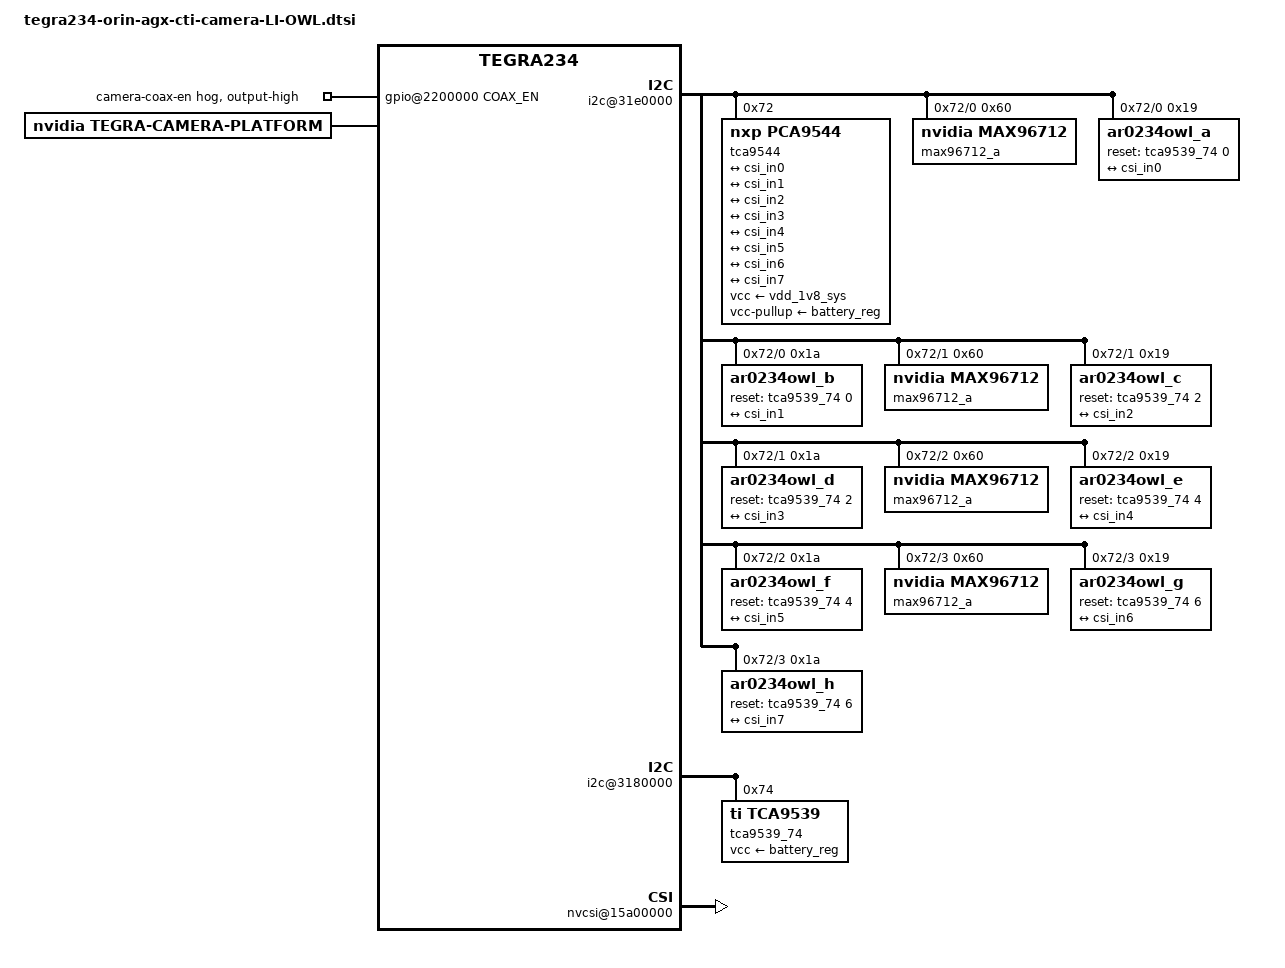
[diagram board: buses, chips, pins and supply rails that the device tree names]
/*
 * Copyright (c) 2022, Connect Tech Inc.  All rights reserved.
 *
 * This program is free software; you can redistribute it and/or modify it
 * under the terms and conditions of the GNU General Public License,
 * version 2, as published by the Free Software Foundation.
 *
 * This program is distributed in the hope it will be useful, but WITHOUT
 * ANY WARRANTY; without even the implied warranty of MERCHANTABILITY or
 * FITNESS FOR A PARTICULAR PURPOSE.  See the GNU General Public License for
 * more details.
 *
 * You should have received a copy of the GNU General Public License
 * along with this program.  If not, see <http://www.gnu.org/licenses/>.
 */

//#include "tegra234-orin-agx-cti-csi.dtsi"
#include "dt-bindings/clock/tegra234-clock.h"

#define COAX_EN TEGRA234_MAIN_GPIO(H,7) //CAM0_PWDN
#define TRIGGER_IO TEGRA234_MAIN_GPIO(R,0) //PWM1


#define CAM_LANES 4
#define CAM_LANES_STRING "4" 
#define TEGRA_SINTERFACE "serial_g"
#define MODE_VC "0"
#define SERDES_PIX_CLK_HZ "590000000" 
#define PIX_CLK_HZ "134400000"
#define TRIG_MODE <0> //manual trigger
#include "tegra234-orin-agx-cti-camera-LI-HAWK-modes.dtsi"

#define SENSOR_COMMON \
                compatible = "onsemi,ar0234owl"; \
                clocks = <&bpmp_clks TEGRA234_CLK_EXTPERIPH1>,<&bpmp_clks TEGRA234_CLK_EXTPERIPH1>; \
                clock-names = "extperiph1", "pllp_grtba"; \
                mclk = "extperiph1"; \
                master-mode = TRIG_MODE; /*hardware trigger by default 0=trigger-mode 1=master-mode */ \
                physical_w = "15.0"; \
                physical_h = "12.5"; \
                sensor_model = "ar0234owl"; \
                post_crop_frame_drop = "0"; \
                use_sensor_mode_id = "true"; \
     
            
/ {

	gpio@2200000 {
        camera-coax-en {
            status = "okay";
            gpio-hog;
            gpios = <COAX_EN 0>;
            output-high;
            label = "camera-coax-en";
        };
	};

	

    i2c@31e0000 {
	status = "okay";
	#address-cells = <1>;
	#size-cells = <0>;
        tca9544@72 {
	    status = "okay";
	    compatible = "nxp,pca9544";
	    reg = <0x72>;
	    #address-cells = <1>;
	    #size-cells = <0>;
	    vcc-supply = <&vdd_1v8_sys>;
	    vcc-pullup-supply = <&battery_reg>;
	    vcc_lp = "vcc";
	    skip_mux_detect = "yes";
	    force_bus_start = <0x1e>;
      i2c@0 {
                status = "okay";
		reg = <0>;
		i2c-mux,deselect-on-exit;
		#address-cells = <1>;
		#size-cells = <0>;

		max96712_a@60 { //just needs to exist for the reg r/w
			compatible = "nvidia,max96712";
			reg = <0x60>;
			channel = "a";
			//status = "okay";
		};
	
		ar0234owl_a@19 {
			status = "okay";
			devnode = "video0";
            devnode-bus = "30";
			reg = <0x19>;
            SENSOR_COMMON
			channel = "a";
			link = "a";
			reset-gpios = <&tca9539_74 0 GPIO_ACTIVE_HIGH>;
			sync_sensor = "OWL1";
			sync_sensor_index = <1>;
			reg_mux = <0>;	
            LI_HAWK_10FPS		
				
			ports {
				#address-cells = <1>;
				#size-cells = <0>;
				port@0 {
					reg = <0>;
					cam_out0: endpoint {
						vc-id = <0>;
						port-index = <6>;
						bus-width = <CAM_LANES>;
						remote-endpoint = <&csi_in0>;
					};
				};
			};	

		};
		ar0234owl_b@1a {
			status = "okay";
			devnode = "video1";
			reg = <0x1a>;
             devnode-bus = "30";
            SENSOR_COMMON
			channel = "a";
			link = "b";
			reset-gpios = <&tca9539_74 0 GPIO_ACTIVE_HIGH>;
			sync_sensor = "OWL2";
			sync_sensor_index = <2>;
			reg_mux = <0>;	
#undef MODE_VC
#define MODE_VC "1"			
            LI_HAWK_10FPS		
				
			ports {
				#address-cells = <1>;
				#size-cells = <0>;
				port@0 {
					reg = <0>;
					cam_out1: endpoint {
						vc-id = <1>;
						port-index = <6>;
						bus-width = <CAM_LANES>;
						remote-endpoint = <&csi_in1>;
					};
				};
			};	

		};

		};
	    i2c@1 {
		status = "okay";
		reg = <1>;
		i2c-mux,deselect-on-exit;
		#address-cells = <1>;
		#size-cells = <0>;
		
		max96712_a@60 {
			compatible = "nvidia,max96712";
			reg = <0x60>;
			channel = "a";
			status = "okay";
		};


		ar0234owl_c@19 {
			status = "okay";
			devnode = "video2";
			reg = <0x19>;
            SENSOR_COMMON
			reg_mux = <0>;
			channel = "a";
			link = "a";
			reset-gpios = <&tca9539_74 2 GPIO_ACTIVE_HIGH>;
			sync_sensor = "OWL1";
			sync_sensor_index = <1>;
#undef TEGRA_SINTERFACE
#define TEGRA_SINTERFACE "serial_e"
#undef MODE_VC
#define MODE_VC "0"	

			LI_HAWK_10FPS
	
			ports {
				#address-cells = <1>;
				#size-cells = <0>;
				port@0 {
					reg = <0>;
					cam_out2: endpoint {
						vc-id = <0>;
						port-index = <4>;
						bus-width = <CAM_LANES>;
						remote-endpoint = <&csi_in2>;
					};
				};
			};	

		};


        ar0234owl_d@1a {
            devnode = "video3";
            reg = <0x1a>;
            status = "okay";
            SENSOR_COMMON
            link = "b";
            channel = "a";
            reset-gpios = <&tca9539_74 2 GPIO_ACTIVE_HIGH>;
            sync_sensor = "OWL2";
            sync_sensor_index = <2>;
#undef MODE_VC
#define MODE_VC "1"
            LI_HAWK_10FPS

            ports {
                #address-cells = <1>;
                #size-cells = <0>;
                port@0 {
                    reg = <0>;
                    cam_out3: endpoint {
                        vc-id = <1>;
                        port-index = <4>;
                        bus-width = <CAM_LANES>;
                        remote-endpoint = <&csi_in3>;
                    };
                };
            };
        };

	    };


            i2c@2 {
                status = "okay";
                reg = <2>;
		i2c-mux,deselect-on-exit;
		#address-cells = <1>;
		#size-cells = <0>;
		
		max96712_a@60 {
			compatible = "nvidia,max96712";
			reg = <0x60>;
			channel = "a";
			status = "okay";
		};

		ar0234owl_e@19 {
			status = "okay";
			devnode = "video4";
            SENSOR_COMMON
			reg = <0x19>;
			reg_mux = <0>;
			channel = "a";
			link = "a";
			reset-gpios = <&tca9539_74 4 GPIO_ACTIVE_HIGH>;
			sync_sensor = "OWL1";
			sync_sensor_index = <1>;

#undef TEGRA_SINTERFACE
#define TEGRA_SINTERFACE "serial_c"
#undef MODE_VC
#define MODE_VC "0"	

			LI_HAWK_10FPS
	
			ports {
				#address-cells = <1>;
				#size-cells = <0>;
				port@0 {
					reg = <0>;
					cam_out4: endpoint {
						vc-id = <0>;
						port-index = <2>;
						bus-width = <CAM_LANES>;
						remote-endpoint = <&csi_in4>;
					};
				};
			};	

		};
		ar0234owl_f@1a {
			status = "okay";
			devnode = "video5";
            SENSOR_COMMON
			reg = <0x1a>;
			channel = "a";
			link = "b";
			reset-gpios = <&tca9539_74 4 GPIO_ACTIVE_HIGH>;
			sync_sensor = "OWL2";
			sync_sensor_index = <2>;

#undef MODE_VC
#define MODE_VC "1"	

			LI_HAWK_10FPS
	
			ports {
				#address-cells = <1>;
				#size-cells = <0>;
				port@0 {
					reg = <0>;
					cam_out5: endpoint {
						vc-id = <1>;
						port-index = <2>;
						bus-width = <CAM_LANES>;
						remote-endpoint = <&csi_in5>;
					};
				};
			};	

		};

      };
                
            i2c@3 {
                status = "okay";
		reg = <3>;
		i2c-mux,deselect-on-exit;
		#address-cells = <1>;
		#size-cells = <0>;
				

		max96712_a@60 {
			compatible = "nvidia,max96712";
			reg = <0x60>;
			channel = "a";
			status = "okay";
		};

		ar0234owl_g@19 {
			status = "okay";
			devnode = "video6";
            SENSOR_COMMON
			reg = <0x19>;
			reg_mux = <0>;
			channel = "a";
			link = "a";
			reset-gpios = <&tca9539_74 6 GPIO_ACTIVE_HIGH>;


			sync_sensor = "OWL1";
			sync_sensor_index = <1>;

#undef TEGRA_SINTERFACE
#define TEGRA_SINTERFACE "serial_a"
#undef MODE_VC
#define MODE_VC "0"	

			LI_HAWK_10FPS
	
			ports {
				#address-cells = <1>;
				#size-cells = <0>;
				port@0 {
					reg = <0>;
					cam_out6: endpoint {
						vc-id = <0>;
						port-index = <0>;
						bus-width = <CAM_LANES>;
						remote-endpoint = <&csi_in6>;
					};
				};
			};	

		};
		ar0234owl_h@1a {
			status = "okay";
			devnode = "video7";
			reg = <0x1a>;
            SENSOR_COMMON
			channel = "a";
			link = "b";
			reset-gpios = <&tca9539_74 6 GPIO_ACTIVE_HIGH>;

			sync_sensor = "OWL2";
			sync_sensor_index = <2>;

#undef TEGRA_SINTERFACE
#define TEGRA_SINTERFACE "serial_a"
#undef MODE_VC
#define MODE_VC "1"	

			LI_HAWK_10FPS
	
			ports {
				#address-cells = <1>;
				#size-cells = <0>;
				port@0 {
					reg = <0>;
					cam_out7: endpoint {
						vc-id = <1>;
						port-index = <0>;
						bus-width = <CAM_LANES>;
						remote-endpoint = <&csi_in7>;
					};
				};
			};	

		};
        };
    };
};
    i2c@3180000 {
		status = "okay";
		#address-cells = <1>;
		#size-cells = <0>;
		tca9539_74: tca9539@74 {
			compatible = "ti,tca9539";
			gpio-controller;
			#gpio-cells = <2>;
			ngpios = <16>;
			reg = <0x74>;
			vcc-supply = <&battery_reg>;
			status = "okay";
			
			tca9539_74_reset {
				status = "okay";
				gpio-hog;
				gpios = <0 0 2 0 4 0 6 0>;
				output-high;
				label = "RST_A","RST_B","RST_C","RST_D";
			};
			tca9539_74_pwdn {
				status = "okay";
                gpio-hog;
                gpios = <1 0 3 0 5 0 7 0>;
                output-low;
                label = "PWDN_A","PWDN_B","PWDN_C","PWDN_D";
			};
            
            tca9539_74_tp {
                status = "okay";
                gpios = < 8 0 9 0 10 0 11 0 12 0 13 0 14 0 15 0 >;
                input;
                label = "TP9", "TP10", "TP11", "TP12", "TP13", "TP14", "TP15", "TP16";
            };
			tca9539_74_input {
				status = "disabled";
			};
		};
	};
    tegra-capture-vi {
        status = "okay";
        num-channels = <8>;
        ports {
	    #address-cells = <1>;
	    #size-cells = <0>;
	    status = "okay";
            port@0 {
		        reg = <0>;
                status = "okay";
                vi_in0: endpoint {
		            vc-id = <0>;
                    port-index = <5>;
                    status = "okay";
                    bus-width = <CAM_LANES>;
		            remote-endpoint = <&csi_out0>;
                };
            };
            port@1 {
                status = "okay";
		        reg = <1>;
                vi_in1: endpoint {
		            vc-id = <1>;
                    port-index = <5>;
                    status = "okay";
                    bus-width = <CAM_LANES>;
		            remote-endpoint = <&csi_out1>;
                };
            };
            port@2 {
                status = "okay";
                reg = <2>;
                vi_in2: endpoint {
                    vc-id = <0>;
                    port-index = <4>;
                    status = "okay";
                    bus-width = <CAM_LANES>;
                    remote-endpoint = <&csi_out2>;
                };
            };
            port@3 {
                status = "okay";
                reg = <3>;
                vi_in3: endpoint {
                    vc-id = <1>;
                    port-index = <4>;
                    status = "okay";
                    bus-width = <CAM_LANES>;
                    remote-endpoint = <&csi_out3>;
                };
            };
	        port@4 {
		        status = "okay";
		        reg = <4>;
                vi_in4: endpoint {
                    vc-id = <0>;
                    port-index = <2>;
                    bus-width = <CAM_LANES>;
                    remote-endpoint = <&csi_out4>;
                    status = "okay";
                };
	        };
	        port@5 {
		        status = "okay";
		        reg = <5>;
                vi_in5: endpoint {
                    vc-id = <1>;
                    port-index = <2>;
                    bus-width = <CAM_LANES>;
                    remote-endpoint = <&csi_out5>;
                    status = "okay";
                };
	        };
            port@6{
                status = "okay";
                reg = <6>;
                vi_in6: endpoint {
                    vc-id = <0>;
                    port-index = <0>;
                    bus-width = <CAM_LANES>;
                    remote-endpoint = <&csi_out6>;
                    status = "okay";
                };
	        };
            port@7{
                status = "okay";
                reg = <7>;
                vi_in7: endpoint {
                    vc-id = <1>;
                    port-index = <0>;
                    bus-width = <CAM_LANES>;
                    remote-endpoint = <&csi_out7>;
                    status = "okay";
                };
	        };
        };
    };

    host1x@13e00000 {
        nvcsi@15a00000 {
	    num-channels = <8>;
	    #address-cells = <1>;
	    #size-cells = <0>;
            status = "okay";
            channel@0 {
                status = "okay";
		        reg = <0>;
                ports {
                    #address-cells = <1>;
                    #size-cells = <0>;
                    port@0 {
                        status = "okay";
			            reg = <0>;
                        csi_in0: endpoint@0 {
                            status = "okay";
                            port-index = <6>;
			                vc-id = <0>;
			                 bus-width = <CAM_LANES>;
                            remote-endpoint = <&cam_out0>;
                        };
                    };
                    port@1 {
                        status = "okay";
		            	reg = <1>;
                        csi_out0: endpoint@1 {
                            status = "okay";
                            port-index = <6>;
                            vc-id = <0>;
                            bus-width = <CAM_LANES>;
                            remote-endpoint = <&vi_in0>;
                        };
                    };
                };
            };
            channel@1 {
                status = "okay";
		        reg = <1>;
                ports {
                    #address-cells = <1>;
                    #size-cells = <0>;
                    port@0 {
                        status = "okay";
			            reg = <0>;
                        csi_in1: endpoint@2 {
                            status = "okay";
                            port-index = <6>;
			                vc-id = <1>;
			                 bus-width = <CAM_LANES>;
                            remote-endpoint = <&cam_out1>;
                        };
                    };
                    port@1 {
                        status = "okay";
		            	reg = <1>;
                        csi_out1: endpoint@3 {
                            status = "okay";
                            port-index = <6>;
                            vc-id = <1>;
                            bus-width = <CAM_LANES>;
                            remote-endpoint = <&vi_in1>;
                        };
                    };
                };
            };
            channel@2 {
                status = "okay";
		        reg = <2>;
                ports {
		            #address-cells = <1>;
		            #size-cells = <0>;
                    
		            port@0 {
			            reg = <0>;
                        status = "okay";
                        csi_in2: endpoint@3 {
                            status = "okay";
			                port-index = <4>;
			                vc-id = <0>;
                            bus-width = <CAM_LANES>;
                            remote-endpoint = <&cam_out2>;
                        };
                    };
                    port@1 {
                        status = "okay";
			            reg = <1>;
                        csi_out2: endpoint@4 {
                            status = "okay";
                            port-index = <4>;
                            vc-id = <0>;
                            bus-width = <CAM_LANES>;
                            remote-endpoint = <&vi_in2>;
                        };
                    };
                };
            };
            channel@3 {
                status = "okay";
		        reg = <3>;
                ports {
		            #address-cells = <1>;
		            #size-cells = <0>;
                    
		            port@0 {
			            reg = <0>;
                        status = "okay";
                        csi_in3: endpoint@5 {
                            status = "okay";
			                port-index = <4>;
			                vc-id = <1>;
                            bus-width = <CAM_LANES>;
                            remote-endpoint = <&cam_out3>;
                        };
                    };
                    port@1 {
                        status = "okay";
			            reg = <1>;
                        csi_out3: endpoint@6 {
                            status = "okay";
                            port-index = <4>;
                            vc-id = <1>;
                            bus-width = <CAM_LANES>;
                            remote-endpoint = <&vi_in3>;
                        };
                    };
                };
            };
            channel@4 {
                status = "okay";
		        reg = <4>;
                ports {
		            #address-cells = <1>;
		            #size-cells = <0>;
                    
		            port@0 {
			            reg = <0>;
                        status = "okay";
                        csi_in4: endpoint@7 {
                            status = "okay";
			                port-index = <2>;
			                vc-id = <0>;
                            bus-width = <CAM_LANES>;
                            remote-endpoint = <&cam_out4>;
                        };
                    };
                    port@1 {
                        status = "okay";
			            reg = <1>;
                        csi_out4: endpoint@8 {
                            status = "okay";
                            port-index = <2>;
                            vc-id = <0>;
                            bus-width = <CAM_LANES>;
                            remote-endpoint = <&vi_in4>;
                        };
                    };
                };
            };
            channel@5 {
                status = "okay";
		        reg = <5>;
                ports {
		            #address-cells = <1>;
		            #size-cells = <0>;
                    
		            port@0 {
			            reg = <0>;
                        status = "okay";
                        csi_in5: endpoint@9 {
                            status = "okay";
			                port-index = <2>;
			                vc-id = <1>;
                            bus-width = <CAM_LANES>;
                            remote-endpoint = <&cam_out5>;
                        };
                    };
                    port@1 {
                        status = "okay";
			            reg = <1>;
                        csi_out5: endpoint@10 {
                            status = "okay";
                            port-index = <2>;
                            vc-id = <1>;
                            bus-width = <CAM_LANES>;
                            remote-endpoint = <&vi_in5>;
                        };
                    };
                };
            };
            channel@6 {
                status = "okay";
		        reg = <6>;
                ports {
		            #address-cells = <1>;
		            #size-cells = <0>;
                    
		            port@0 {
			            reg = <0>;
                        status = "okay";
                        csi_in6: endpoint@11 {
                            status = "okay";
			                port-index = <0>;
			                vc-id = <0>;
                            bus-width = <CAM_LANES>;
                            remote-endpoint = <&cam_out6>;
                        };
                    };
                    port@1 {
                        status = "okay";
			            reg = <1>;
                        csi_out6: endpoint@12 {
                            status = "okay";
                            port-index = <0>;
                            vc-id = <0>;
                            bus-width = <CAM_LANES>;
                            remote-endpoint = <&vi_in6>;
                        };
                    };
                };
            };
            channel@7 {
                status = "okay";
		        reg = <7>;
                ports {
		            #address-cells = <1>;
		            #size-cells = <0>;
                    
		            port@0 {
			            reg = <0>;
                        status = "okay";
                        csi_in7: endpoint@13 {
                            status = "okay";
			                port-index = <0>;
			                vc-id = <1>;
                            bus-width = <CAM_LANES>;
                            remote-endpoint = <&cam_out7>;
                        };
                    };
                    port@1 {
                        status = "okay";
			            reg = <1>;
                        csi_out7: endpoint@14 {
                            status = "okay";
                            port-index = <0>;
                            vc-id = <1>;
                            bus-width = <CAM_LANES>;
                            remote-endpoint = <&vi_in7>;
                        };
                    };
                };
            };
        };
    };


    tegra-camera-platform {
        num_csi_lanes = <16>;
        max_lane_speed = <4000000>;
        min_bits_per_pixel = <10>;
        vi_peak_byte_per_pixel = <2>;
        vi_bw_margin_pct = <25>;
	//max_pixel_rate = <750000>;
        isp_peak_byte_per_pixel = <5>;
        isp_bw_margin_pct = <25>;
	compatible = "nvidia, tegra-camera-platform";
	status = "okay";
        
	modules {
		status = "okay";
		module0 {
			status = "okay";
			badge = "ar0234owl_bottomleft";
			position = "bottomleft";
			orientation = "1";
			drivernode0 {
				status = "okay";
				pcl_id = "v4l2_sensor";
				devname = "ar0234owl 30-0019";
				proc-device-tree = "/proc/device-tree/i2c@31e0000/tca9544@72/i2c@0/ar0234owl_a@19";
			};
			
		};
		module1 {
			status = "okay";
			badge = "ar0234owl_bottomright";
			position = "bottomright";
			orientation = "1";
			drivernode0 {
				status = "okay";
				pcl_id = "v4l2_sensor";
				devname = "ar0234owl 30-001a";
				proc-device-tree = "/proc/device-tree/i2c@31e0000/tca9544@72/i2c@0/ar0234owl_b@1a";	
			};
		};
		module2 {
			status = "okay";
			badge = "ar0234owl_topleft";
			position = "topleft";
			orientation = "1";
			drivernode0 {
				status = "okay";
				pcl_id = "v4l2_sensor";
				devname = "ar0234owl 31-0019";
				proc-device-tree = "/proc/device-tree/i2c@31e0000/tca9544@72/i2c@1/ar0234owl_c@19";	
			};
		};
		module3 {
			status = "okay";
			badge = "ar0234owl_topright";
			position = "topright";
			orientation = "1";
			drivernode0 {
				status = "okay";
				pcl_id = "v4l2_sensor";
				devname = "ar0234owl 31-001a";
				proc-device-tree = "/proc/device-tree/i2c@31e0000/tca9544@72/i2c@1/ar0234owl_d@1a";
			};
		};
		module4 {
			status = "okay";
			badge = "ar0234owl_centerleft";
			position = "centerleft";
			orientation = "1";
			drivernode0 {
				status = "okay";
				pcl_id = "v4l2_sensor";
				devname = "ar0234owl 32-0019";
				proc-device-tree = "/proc/device-tree/i2c@31e0000/tca9544@72/i2c@2/ar0234owl_e@19";
			};
		};
		module5 {
			status = "okay";
			badge = "ar0234owl_centerright";
			position = "centerright";
			orientation = "1";
			drivernode0 {
				status = "okay";
				pcl_id = "v4l2_sensor";
				devname = "ar0234owl 32-001a";
				proc-device-tree = "/proc/device-tree/i2c@31e0000/tca9544@72/i2c@2/ar0234owl_f@1a";
			};
		};
		module6 {
			status = "okay";
			badge = "ar0234owl_backleft";
			position = "backleft";
			orientation = "1";
			drivernode0 {
				status = "okay";
				pcl_id = "v4l2_sensor";
				devname = "ar0234owl 33-0019";
				proc-device-tree = "/proc/device-tree/i2c@31e0000/tca9544@72/i2c@3/ar0234owl_g@19";
			};
		};
		module7 {
			status = "okay";
			badge = "ar0234owl_backright";
			position = "backright";
			orientation = "1";
			drivernode0 {
				status = "okay";
				pcl_id = "v4l2_sensor";
				devname = "ar0234owl 33-001a";
				proc-device-tree = "/proc/device-tree/i2c@31e0000/tca9544@72/i2c@3/ar0234owl_h@1a";
			};
		};
        };
    };
};
